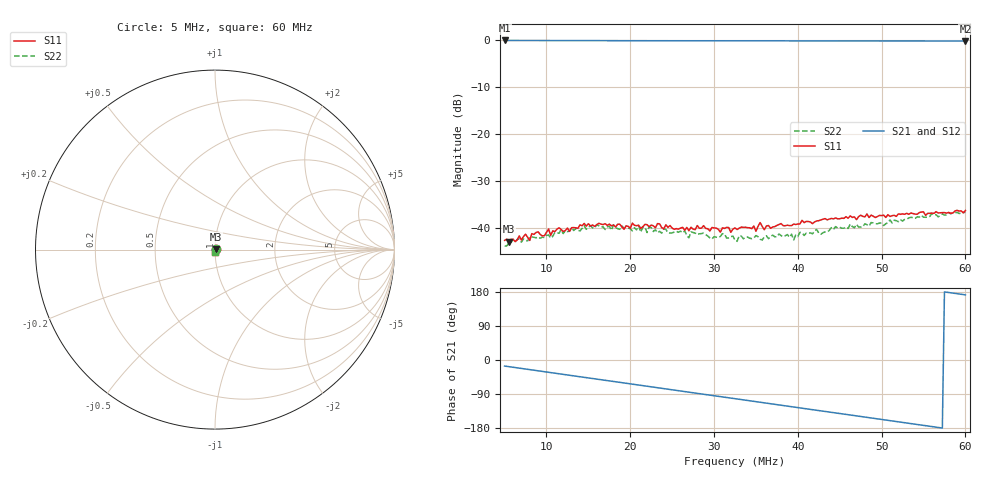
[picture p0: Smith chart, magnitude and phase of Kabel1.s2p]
#  HZ  S  DB  R  50.00
! Rohde & Schwarz ZVT8 8Ports - Version 4.11 - 1300.0000k08 SN: 100242
! Date: 2023-12-01 11:37:59
! Measurements: S11 S21 S12 S22
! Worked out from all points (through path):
!   221 points, 5 MHz to 60 MHz, reference 50 ohm
!   highest |S21| = -0.07 dB at 5 MHz (marker M1); lowest = -0.2 dB at 60 MHz (marker M2)
!   group delay of S21, straight-line fit = 8.7 ns
!   lowest |S11| = -43.0 dB at 5.5 MHz (marker M3), VSWR 1.01, Z = 50.7 + j0.123 ohm
!   |S11| at or under -10 dB: start of sweep to end of sweep
!   |S22| runs from -44.0 to -36.7 dB; largest |S21 - S12| = 0.0014
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5000000  -42.72 20.0  -0.07 -16.0  -0.06 -16.0  -43.96 17.1
5500000  -43.02 9.9  -0.07 -17.6  -0.07 -17.6  -43.27 7.2
1.425e7  -39.60 -36.2  -0.11 -45.0  -0.12 -45.0  -40.16 -34.3
1.875e7  -39.29 -48.3  -0.12 -59.0  -0.12 -59.0  -40.37 -51.0
1.925e7  -40.36 -50.8  -0.12 -60.6  -0.12 -60.6  -40.16 -49.4
2.025e7  -39.05 -55.6  -0.12 -63.7  -0.12 -63.7  -40.69 -55.8
2.1e7  -39.49 -56.9  -0.12 -66.1  -0.13 -66.1  -39.59 -60.2
2.125e7  -40.16 -58.8  -0.12 -66.9  -0.12 -66.9  -40.95 -59.6
2.15e7  -39.82 -59.2  -0.12 -67.7  -0.12 -67.6  -39.87 -60.3
2.35e7  -39.21 -64.3  -0.13 -73.9  -0.12 -73.9  -40.79 -62.4
2.65e7  -40.58 -69.7  -0.13 -83.3  -0.13 -83.3  -40.69 -66.5
2.7e7  -40.68 -69.6  -0.13 -84.9  -0.13 -84.9  -42.19 -71.5
2.725e7  -39.93 -71.7  -0.13 -85.6  -0.13 -85.6  -40.89 -69.2
3.25e7  -40.07 -80.5  -0.14 -102.1  -0.14 -102.1  -42.69 -68.0
3.5e7  -40.78 -77.3  -0.14 -110.0  -0.14 -109.9  -41.71 -71.0
3.775e7  -39.35 -82.9  -0.15 -118.6  -0.15 -118.6  -41.35 -68.8
3.95e7  -39.25 -81.7  -0.15 -124.0  -0.15 -124.0  -42.63 -69.0
4.025e7  -39.22 -84.8  -0.15 -126.4  -0.15 -126.4  -41.01 -67.5
4.175e7  -39.17 -83.0  -0.15 -131.1  -0.16 -131.1  -41.33 -62.7
4.825e7  -37.09 -87.2  -0.17 -151.4  -0.17 -151.4  -39.38 -70.0
5.1e7  -37.62 -83.4  -0.18 -160.0  -0.18 -160.0  -38.35 -75.7
6e7  -36.36 -88.2  -0.19 171.8  -0.19 171.9  -36.80 -85.9
